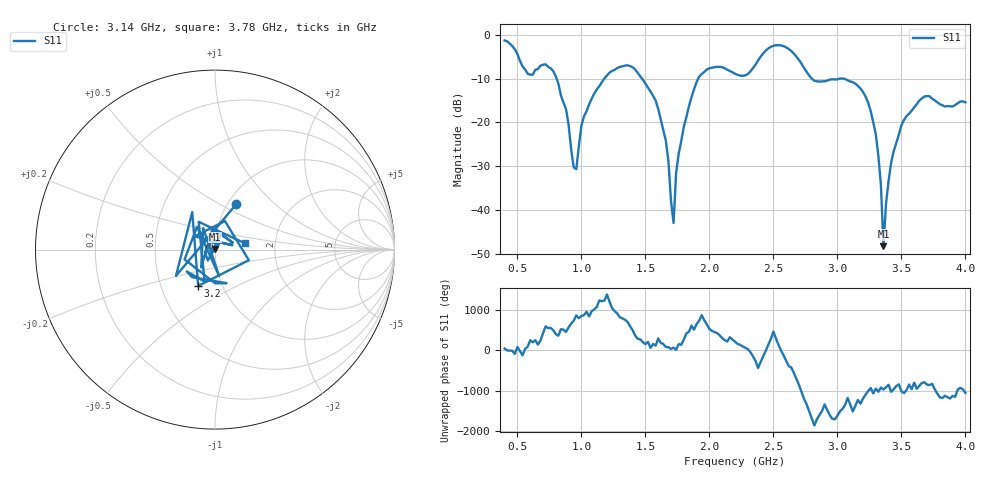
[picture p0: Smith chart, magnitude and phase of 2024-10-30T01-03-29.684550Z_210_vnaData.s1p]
!Created with skrf (http://scikit-rf.org).
# Hz S RI R 50.0
!freq ReS11 ImS11
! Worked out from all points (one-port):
!   181 points, 400 MHz to 4 GHz, reference 50 ohm
!   lowest |S11| = -48.3 dB at 3.36 GHz (marker M1), VSWR 1.01, Z = 49.9 + j0.363 ohm
!   |S11| at or under -10 dB: 806.5 MHz to 1.179 GHz (372.2 MHz wide, 37.5 % of centre); 1.474 GHz to 1.913 GHz (438.8 MHz wide, 25.9 % of centre); 3.05 GHz to end of sweep (the widest 3 of 4)
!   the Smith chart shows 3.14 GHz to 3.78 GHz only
!   S11 on the Smith chart (normalised r, x): 3.14 GHz: 1.10, +0.60; 3.2 GHz: 0.77, -0.33; 3.78 GHz: 1.39, +0.10
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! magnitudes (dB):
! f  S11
! 400 MHz  -1.3
! 580 MHz  -8.8
! 760 MHz  -7.6
! 860 MHz  -15.5
! 960 MHz  -30.7
! 1.02 GHz  -18.6
! 1.3 GHz  -7.3
! 1.58 GHz  -15.0
! 1.66 GHz  -24.2
! 1.72 GHz  -43.0
! 1.74 GHz  -31.6
! 1.76 GHz  -27.2
! 1.92 GHz  -9.6
! 2.2 GHz  -8.9
! 2.5 GHz  -2.5
! 2.66 GHz  -4.3
! 2.82 GHz  -10.5
! 3.1 GHz  -10.6
! 3.14 GHz  -11.1
! 3.2 GHz  -13.0
! 3.3 GHz  -22.7
! 3.34 GHz  -34.3
! 3.36 GHz  -48.3
! 3.38 GHz  -38.6
! 3.42 GHz  -29.2
! 3.56 GHz  -18.0
! 3.78 GHz  -15.4
! 4 GHz  -15.4
